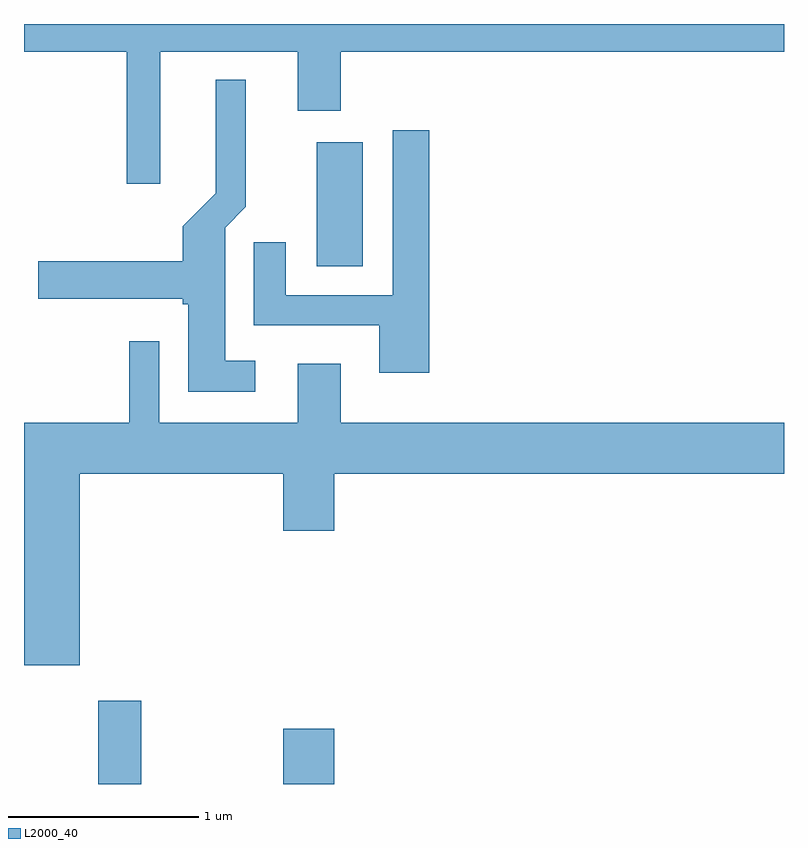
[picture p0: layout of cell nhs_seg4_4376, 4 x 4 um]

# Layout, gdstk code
import gdstk
lib = gdstk.Library(unit=1e-6, precision=1e-09)
def R(c, l, rs):  # rectangles x0, y0, x1, y1
    for r in rs: c.add(gdstk.rectangle(r[:2], r[2:], *l))
def P(c, l, *ps):  # polygons
    for p in ps: c.add(gdstk.Polygon(p, *l))
L2000_40 = (2000, 40)

nhs_seg4_4376 = lib.new_cell('nhs_seg4_4376')
R(nhs_seg4_4376, L2000_40, [(314.001,1301.982,314.229,1302.419), (314.976,1301.982,315.244,1302.274), (315.151,1304.706,315.394,1305.359)])
P(nhs_seg4_4376, L2000_40, [(314.329,1305.836),(315.051,1305.836),(315.051,1305.526),(315.279,1305.526),(315.279,1305.836),(317.611,1305.836),(317.611,1305.982),(313.611,1305.982),(313.611,1305.836),(314.151,1305.836),(314.151,1305.141),(314.329,1305.141)],
  [(314.828,1304.209),(314.669,1304.209),(314.669,1304.909),(314.779,1305.019),(314.779,1305.688),(314.621,1305.688),(314.621,1305.092),(314.446,1304.917),(314.446,1304.734),(313.686,1304.734),(313.686,1304.536),(314.446,1304.536),(314.446,1304.506),(314.476,1304.506),(314.476,1304.046),(314.828,1304.046)],
  [(315.744,1305.424),(315.551,1305.424),(315.551,1304.554),(314.989,1304.554),(314.989,1304.833),(314.821,1304.833),(314.821,1304.396),(315.481,1304.396),(315.481,1304.146),(315.744,1304.146)],
  [(313.904,1303.616),(314.976,1303.616),(314.976,1303.316),(315.244,1303.316),(315.244,1303.616),(317.611,1303.616),(317.611,1303.884),(315.279,1303.884),(315.279,1304.194),(315.051,1304.194),(315.051,1303.884),(314.324,1303.884),(314.324,1304.313),(314.166,1304.313),(314.166,1303.884),(313.611,1303.884),(313.611,1302.606),(313.904,1302.606)])

lib.write_gds('nhs_seg4_4376.gds')
